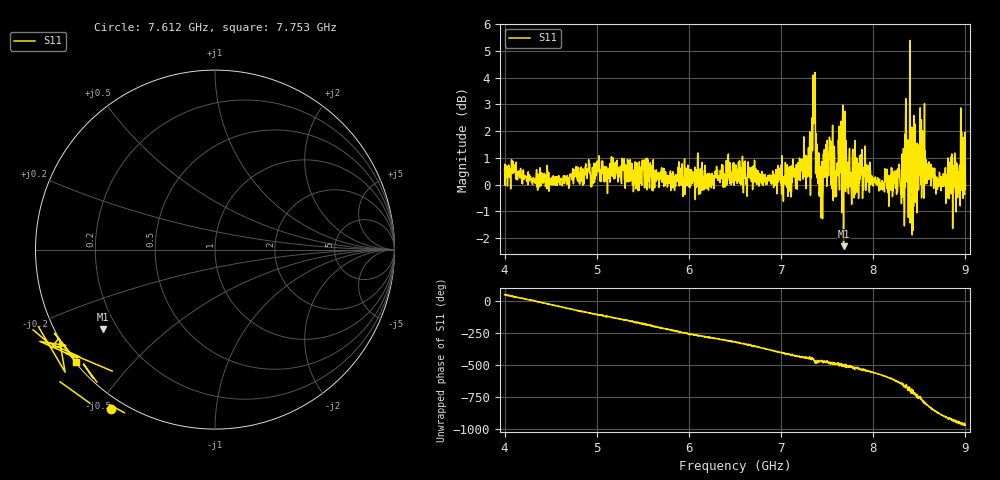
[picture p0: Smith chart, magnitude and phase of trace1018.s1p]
! Created with skrf 1.8.0 (http://scikit-rf.org).
# Hz S RI R 50.0
!freq ReS11 ImS11
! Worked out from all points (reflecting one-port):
!   1601 points, 4 GHz to 9 GHz, reference 50 ohm
!   lowest |S11| = -2.3 dB at 7.678 GHz (marker M1), VSWR 7.60, Z = 7.24 - j15.6 ohm
!   phase of S11 starts at 53 deg and turns -1015 deg over the sweep
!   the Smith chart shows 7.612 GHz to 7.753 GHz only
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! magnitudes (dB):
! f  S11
! 4 GHz  0.6
! 4.625 GHz  0.0
! 5.25 GHz  0.3
! 5.875 GHz  0.1
! 6.5 GHz  0.5
! 7.125 GHz  0.5
! 7.294 GHz  1.0
! 7.356 GHz  3.6
! 7.372 GHz  2.3
! 7.4 GHz  0.0
! 7.431 GHz  0.2
! 7.512 GHz  1.1
! 7.591 GHz  0.5
! 7.65 GHz  2.4
! 7.678 GHz  -2.3
! 7.75 GHz  0.1
! 7.891 GHz  0.1
! 8.097 GHz  0.2
! 8.294 GHz  0.0
! 8.316 GHz  0.8
! 8.334 GHz  -0.6
! 8.375 GHz  1.7
! 8.425 GHz  -0.7
! 8.534 GHz  2.0
! 8.703 GHz  0.2
! 8.919 GHz  0.2
! 8.972 GHz  0.9
! 9 GHz  -0.2
